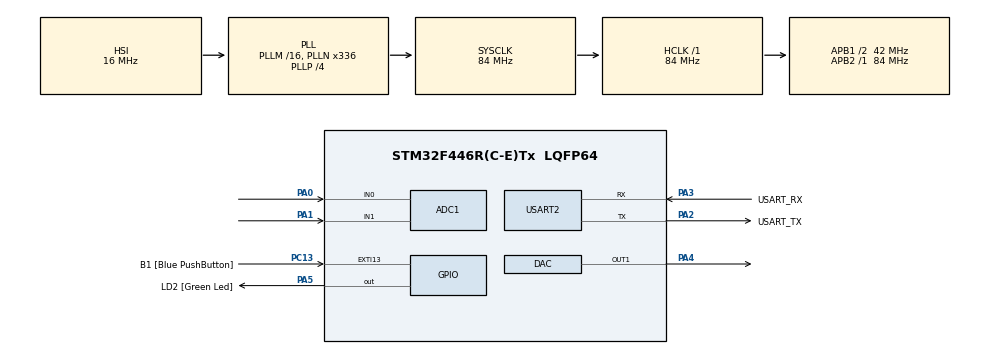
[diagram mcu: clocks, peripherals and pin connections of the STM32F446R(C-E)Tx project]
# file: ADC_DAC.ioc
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ADC1.Channel-2\#ChannelRegularConversion=ADC_CHANNEL_0
ADC1.ContinuousConvMode=DISABLE
ADC1.DiscontinuousConvMode=DISABLE
ADC1.EOCSelection=ADC_EOC_SEQ_CONV
ADC1.NbrOfConversion=1
ADC1.NbrOfConversionFlag=1
ADC1.Rank-2\#ChannelRegularConversion=1
ADC1.SamplingTime-2\#ChannelRegularConversion=ADC_SAMPLETIME_3CYCLES
ADC1.master=1
Mcu.Family=STM32F4
Mcu.Name=STM32F446R(C-E)Tx
Mcu.Package=LQFP64
NVIC.PriorityGroup=NVIC_PRIORITYGROUP_0
PA0-WKUP.Signal=ADCx_IN0
PA1.Signal=ADCx_IN1
PA13.GPIO_Label=TMS
PA13.Mode=Serial_Wire
PA13.Signal=SYS_JTMS-SWDIO
PA14.GPIO_Label=TCK
PA14.Mode=Serial_Wire
PA14.Signal=SYS_JTCK-SWCLK
PA2.GPIO_Label=USART_TX
PA2.Mode=Asynchronous
PA2.Signal=USART2_TX
PA3.GPIO_Label=USART_RX
PA3.Mode=Asynchronous
PA3.Signal=USART2_RX
PA4.Signal=COMP_DAC1_group
PA5.GPIO_Label=LD2 [Green Led]
PA5.Signal=GPIO_Output
PB3.GPIO_Label=SWO
PB3.Signal=SYS_JTDO-SWO
PC13.GPIO_Label=B1 [Blue PushButton]
PC13.GPIO_ModeDefaultEXTI=GPIO_MODE_IT_FALLING
PC13.Signal=GPXTI13
PC14-OSC32_IN.Mode=LSE-External-Oscillator
PC14-OSC32_IN.Signal=RCC_OSC32_IN
PC15-OSC32_OUT.Mode=LSE-External-Oscillator
PC15-OSC32_OUT.Signal=RCC_OSC32_OUT
PH0-OSC_IN.Mode=HSE-External-Oscillator
PH0-OSC_IN.Signal=RCC_OSC_IN
PH1-OSC_OUT.Mode=HSE-External-Oscillator
PH1-OSC_OUT.Signal=RCC_OSC_OUT
ProjectManager.HeapSize=0x200
ProjectManager.StackSize=0x400
ProjectManager.TargetToolchain=STM32CubeIDE
RCC.48MHZClocksFreq_Value=84000000
RCC.AHBFreq_Value=84000000
RCC.APB1CLKDivider=RCC_HCLK_DIV2
RCC.APB1Freq_Value=42000000
RCC.APB1TimFreq_Value=84000000
RCC.APB2Freq_Value=84000000
RCC.APB2TimFreq_Value=84000000
RCC.CortexFreq_Value=84000000
RCC.FLatency-AdvancedSettings=FLASH_LATENCY_2
RCC.HCLKFreq_Value=84000000
RCC.HSE_VALUE=8000000
RCC.HSI_VALUE=16000000
RCC.PLLN=336
RCC.PLLP=RCC_PLLP_DIV4
RCC.SYSCLKFreq_VALUE=84000000
RCC.SYSCLKSource=RCC_SYSCLKSOURCE_PLLCLK
RCC.USBFreq_Value=168000000
RCC.VCOOutputFreq_Value=336000000
SH.ADCx_IN0.0=ADC1_IN0,IN0
SH.ADCx_IN1.0=ADC1_IN1,IN1
SH.COMP_DAC1_group.0=DAC_OUT1,DAC_OUT1
USART2.VirtualMode=VM_ASYNC
VP_ADC1_TempSens_Input.Mode=IN-TempSens
board=NUCLEO-F446RE

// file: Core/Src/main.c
/* USER CODE BEGIN Header */
/**
  ******************************************************************************
  * @file           : main.c
  * @brief          : Main program body
  ******************************************************************************
  * @attention
  *
  * Copyright (c) 2024 STMicroelectronics.
  * All rights reserved.
  *
  * This software is licensed under terms that can be found in the LICENSE file
  * in the root directory of this software component.
  * If no LICENSE file comes with this software, it is provided AS-IS.
  *
  ******************************************************************************
  */
/* USER CODE END Header */
#include "main.h"

ADC_HandleTypeDef hadc1;

DAC_HandleTypeDef hdac;

UART_HandleTypeDef huart2;

void SystemClock_Config(void);
static void MX_GPIO_Init(void);
static void MX_USART2_UART_Init(void);
static void MX_ADC1_Init(void);
static void MX_DAC_Init(void);

/* USER CODE BEGIN 0 */
float adc_voltage ;
float adc_voltage2 ;
float temp ;
/* USER CODE END 0 */

int main(void)
{

  /* MCU Configuration--------------------------------------------------------*/

  /* Reset of all peripherals, Initializes the Flash interface and the Systick. */
  HAL_Init();

  /* Configure the system clock */
  SystemClock_Config();

  /* Initialize all configured peripherals */
  MX_GPIO_Init();
  MX_USART2_UART_Init();
  MX_ADC1_Init();
  MX_DAC_Init();
  /* USER CODE BEGIN 2 */
  HAL_DAC_Start( &hdac , DAC_CHANNEL_1 );

  float dac_voltage = 2.00 ;				// voltage to be defined
  float v_max = 3.280 ;					// max voltage of the DAC
  uint32_t max_resolution = 4095 ;		// max value admissible by the DAC (0~4095)

  uint32_t dac_value = max_resolution * (dac_voltage / v_max) ;

  ADC_ChannelConfTypeDef sConfig = {0};
  sConfig.SamplingTime = ADC_SAMPLETIME_480CYCLES;
  sConfig.Channel = ADC_CHANNEL_0;
  sConfig.Rank = 1;

  /* USER CODE END 2 */

  /* Infinite loop */
  /* USER CODE BEGIN WHILE */
  while (1)
  {
	  HAL_DAC_SetValue( &hdac, DAC_CHANNEL_1, DAC_ALIGN_12B_R, dac_value ) ;

	  sConfig.Channel = ADC_CHANNEL_0;
	  HAL_StatusTypeDef res = HAL_ADC_ConfigChannel(&hadc1, &sConfig);
	  HAL_ADC_Start( &hadc1 );
	  HAL_StatusTypeDef result_adc = HAL_ADC_PollForConversion( &hadc1 , 100 ) ;

	  if(result_adc == HAL_OK ){
		  adc_voltage = ( (float)hadc1.Instance->DR ) * ( 3.3 / 4095.0 ) ;
	  }

	  sConfig.Channel = ADC_CHANNEL_1;
	  HAL_StatusTypeDef res1 = HAL_ADC_ConfigChannel(&hadc1, &sConfig);
	  HAL_ADC_Start( &hadc1 );
	  result_adc = HAL_ADC_PollForConversion( &hadc1 , 100 ) ;

	  if(result_adc == HAL_OK ){
		  adc_voltage2 = ( (float)hadc1.Instance->DR ) * ( 3.3 / 4095.0 ) ;
	  }

	  sConfig.Channel = ADC_CHANNEL_18;
	  HAL_StatusTypeDef res2 = HAL_ADC_ConfigChannel(&hadc1, &sConfig);
	  HAL_ADC_Start( &hadc1 );
	  result_adc = HAL_ADC_PollForConversion( &hadc1 , 100 ) ;

	  if(result_adc == HAL_OK ){
		  temp = ( ( ( hadc1.Instance->DR ) * ( 3.3 / 4095.0 ) ) - 0.76 ) / 2.5e-3 + 25.0;
	  }

	  HAL_Delay(100) ;
    /* USER CODE END WHILE */

  }
}

void SystemClock_Config(void)
{
  RCC_OscInitTypeDef RCC_OscInitStruct = {0};
  RCC_ClkInitTypeDef RCC_ClkInitStruct = {0};

  /** Configure the main internal regulator output voltage
  */
  __HAL_RCC_PWR_CLK_ENABLE();
  __HAL_PWR_VOLTAGESCALING_CONFIG(PWR_REGULATOR_VOLTAGE_SCALE3);

  /** Initializes the RCC Oscillators according to the specified parameters
  * in the RCC_OscInitTypeDef structure.
  */
  RCC_OscInitStruct.OscillatorType = RCC_OSCILLATORTYPE_HSI;
  RCC_OscInitStruct.HSIState = RCC_HSI_ON;
  RCC_OscInitStruct.HSICalibrationValue = RCC_HSICALIBRATION_DEFAULT;
  RCC_OscInitStruct.PLL.PLLState = RCC_PLL_ON;
  RCC_OscInitStruct.PLL.PLLSource = RCC_PLLSOURCE_HSI;
  RCC_OscInitStruct.PLL.PLLM = 16;
  RCC_OscInitStruct.PLL.PLLN = 336;
  RCC_OscInitStruct.PLL.PLLP = RCC_PLLP_DIV4;
  RCC_OscInitStruct.PLL.PLLQ = 2;
  RCC_OscInitStruct.PLL.PLLR = 2;
  if (HAL_RCC_OscConfig(&RCC_OscInitStruct) != HAL_OK)
  {
    Error_Handler();
  }

  /** Initializes the CPU, AHB and APB buses clocks
  */
  RCC_ClkInitStruct.ClockType = RCC_CLOCKTYPE_HCLK|RCC_CLOCKTYPE_SYSCLK
                              |RCC_CLOCKTYPE_PCLK1|RCC_CLOCKTYPE_PCLK2;
  RCC_ClkInitStruct.SYSCLKSource = RCC_SYSCLKSOURCE_PLLCLK;
  RCC_ClkInitStruct.AHBCLKDivider = RCC_SYSCLK_DIV1;
  RCC_ClkInitStruct.APB1CLKDivider = RCC_HCLK_DIV2;
  RCC_ClkInitStruct.APB2CLKDivider = RCC_HCLK_DIV1;

  if (HAL_RCC_ClockConfig(&RCC_ClkInitStruct, FLASH_LATENCY_2) != HAL_OK)
  {
    Error_Handler();
  }
}

static void MX_ADC1_Init(void)
{

  ADC_ChannelConfTypeDef sConfig = {0};

  /** Configure the global features of the ADC (Clock, Resolution, Data Alignment and number of conversion)
  */
  hadc1.Instance = ADC1;
  hadc1.Init.ClockPrescaler = ADC_CLOCK_SYNC_PCLK_DIV4;
  hadc1.Init.Resolution = ADC_RESOLUTION_12B;
  hadc1.Init.ScanConvMode = DISABLE;
  hadc1.Init.ContinuousConvMode = DISABLE;
  hadc1.Init.DiscontinuousConvMode = DISABLE;
  hadc1.Init.ExternalTrigConvEdge = ADC_EXTERNALTRIGCONVEDGE_NONE;
  hadc1.Init.ExternalTrigConv = ADC_SOFTWARE_START;
  hadc1.Init.DataAlign = ADC_DATAALIGN_RIGHT;
  hadc1.Init.NbrOfConversion = 1;
  hadc1.Init.DMAContinuousRequests = DISABLE;
  hadc1.Init.EOCSelection = ADC_EOC_SEQ_CONV;
  if (HAL_ADC_Init(&hadc1) != HAL_OK)
  {
    Error_Handler();
  }

  /** Configure for the selected ADC regular channel its corresponding rank in the sequencer and its sample time.
  */
  sConfig.Channel = ADC_CHANNEL_0;
  sConfig.Rank = 1;
  sConfig.SamplingTime = ADC_SAMPLETIME_3CYCLES;
  if (HAL_ADC_ConfigChannel(&hadc1, &sConfig) != HAL_OK)
  {
    Error_Handler();
  }

}

static void MX_DAC_Init(void)
{

  DAC_ChannelConfTypeDef sConfig = {0};

  /** DAC Initialization
  */
  hdac.Instance = DAC;
  if (HAL_DAC_Init(&hdac) != HAL_OK)
  {
    Error_Handler();
  }

  /** DAC channel OUT1 config
  */
  sConfig.DAC_Trigger = DAC_TRIGGER_NONE;
  sConfig.DAC_OutputBuffer = DAC_OUTPUTBUFFER_ENABLE;
  if (HAL_DAC_ConfigChannel(&hdac, &sConfig, DAC_CHANNEL_1) != HAL_OK)
  {
    Error_Handler();
  }

}

static void MX_USART2_UART_Init(void)
{

  huart2.Instance = USART2;
  huart2.Init.BaudRate = 115200;
  huart2.Init.WordLength = UART_WORDLENGTH_8B;
  huart2.Init.StopBits = UART_STOPBITS_1;
  huart2.Init.Parity = UART_PARITY_NONE;
  huart2.Init.Mode = UART_MODE_TX_RX;
  huart2.Init.HwFlowCtl = UART_HWCONTROL_NONE;
  huart2.Init.OverSampling = UART_OVERSAMPLING_16;
  if (HAL_UART_Init(&huart2) != HAL_OK)
  {
    Error_Handler();
  }

}

static void MX_GPIO_Init(void)
{
  GPIO_InitTypeDef GPIO_InitStruct = {0};

  /* GPIO Ports Clock Enable */
  __HAL_RCC_GPIOC_CLK_ENABLE();
  __HAL_RCC_GPIOH_CLK_ENABLE();
  __HAL_RCC_GPIOA_CLK_ENABLE();
  __HAL_RCC_GPIOB_CLK_ENABLE();

  /*Configure GPIO pin Output Level */
  HAL_GPIO_WritePin(LD2_GPIO_Port, LD2_Pin, GPIO_PIN_RESET);

  /*Configure GPIO pin : B1_Pin */
  GPIO_InitStruct.Pin = B1_Pin;
  GPIO_InitStruct.Mode = GPIO_MODE_IT_FALLING;
  GPIO_InitStruct.Pull = GPIO_NOPULL;
  HAL_GPIO_Init(B1_GPIO_Port, &GPIO_InitStruct);

  /*Configure GPIO pin : LD2_Pin */
  GPIO_InitStruct.Pin = LD2_Pin;
  GPIO_InitStruct.Mode = GPIO_MODE_OUTPUT_PP;
  GPIO_InitStruct.Pull = GPIO_NOPULL;
  GPIO_InitStruct.Speed = GPIO_SPEED_FREQ_LOW;
  HAL_GPIO_Init(LD2_GPIO_Port, &GPIO_InitStruct);

}

void Error_Handler(void)
{
  __disable_irq();
  while (1)
  {
  }
}
